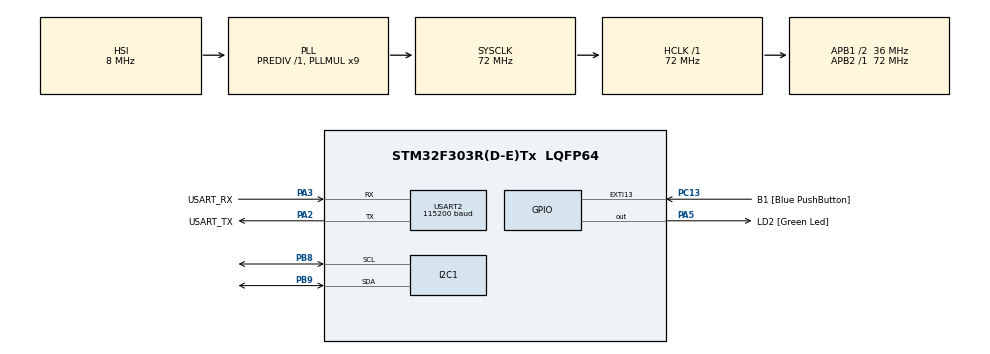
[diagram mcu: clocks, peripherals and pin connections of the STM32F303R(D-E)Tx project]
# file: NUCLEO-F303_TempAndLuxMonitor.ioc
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I2C1.Timing=0x00201D2B
Mcu.Family=STM32F3
Mcu.Name=STM32F303R(D-E)Tx
Mcu.Package=LQFP64
NVIC.PriorityGroup=NVIC_PRIORITYGROUP_0
PA13.GPIO_Label=TMS
PA13.Mode=Serial_Wire
PA13.Signal=SYS_JTMS-SWDIO
PA14.GPIO_Label=TCK
PA14.Mode=Serial_Wire
PA14.Signal=SYS_JTCK-SWCLK
PA2.GPIO_Label=USART_TX
PA2.GPIO_Mode=GPIO_MODE_AF_PP
PA2.GPIO_PuPd=GPIO_NOPULL
PA2.GPIO_Speed=GPIO_SPEED_FREQ_LOW
PA2.Mode=Asynchronous
PA2.Signal=USART2_TX
PA3.GPIO_Label=USART_RX
PA3.GPIO_Mode=GPIO_MODE_AF_PP
PA3.GPIO_PuPd=GPIO_NOPULL
PA3.GPIO_Speed=GPIO_SPEED_FREQ_LOW
PA3.Mode=Asynchronous
PA3.Signal=USART2_RX
PA5.GPIO_Label=LD2 [Green Led]
PA5.GPIO_Mode=GPIO_MODE_OUTPUT_PP
PA5.GPIO_PuPd=GPIO_NOPULL
PA5.GPIO_Speed=GPIO_SPEED_FREQ_LOW
PA5.Signal=GPIO_Output
PB3.GPIO_Label=SWO
PB3.Signal=SYS_JTDO-TRACESWO
PB8.Mode=I2C
PB8.Signal=I2C1_SCL
PB9.Mode=I2C
PB9.Signal=I2C1_SDA
PC13.GPIO_Label=B1 [Blue PushButton]
PC13.GPIO_ModeDefaultEXTI=GPIO_MODE_IT_FALLING
PC13.Signal=GPXTI13
PC14-OSC32_IN.Mode=LSE-External-Oscillator
PC14-OSC32_IN.Signal=RCC_OSC32_IN
PC15-OSC32_OUT.Mode=LSE-External-Oscillator
PC15-OSC32_OUT.Signal=RCC_OSC32_OUT
PF0-OSC_IN.Mode=HSE-External-Clock-Source
PF0-OSC_IN.Signal=RCC_OSC_IN
PF1-OSC_OUT.Signal=RCC_OSC_OUT
ProjectManager.HeapSize=0x200
ProjectManager.StackSize=0x400
ProjectManager.TargetToolchain=CMake
RCC.AHBFreq_Value=72000000
RCC.APB1CLKDivider=RCC_HCLK_DIV2
RCC.APB1Freq_Value=36000000
RCC.APB1TimFreq_Value=72000000
RCC.APB2Freq_Value=72000000
RCC.APB2TimFreq_Value=72000000
RCC.CortexFreq_Value=72000000
RCC.HCLKFreq_Value=72000000
RCC.HSE_VALUE=8000000
RCC.HSI_VALUE=8000000
RCC.PLLM=8
RCC.PLLMUL=RCC_PLL_MUL9
RCC.PLLN=336
RCC.PLLP=RCC_PLLP_DIV4
RCC.PLLQ=7
RCC.RCC_PLLsource_Clock_Source_FROM_HSE=RCC_HSE_PREDIV_DIV2
RCC.SYSCLKFreq_VALUE=72000000
RCC.SYSCLKSourceVirtual=RCC_SYSCLKSOURCE_PLLCLK
RCC.USBFreq_Value=72000000
USART2.BaudRate=115200
USART2.VirtualMode-Asynchronous=VM_ASYNC
board=NUCLEO-F303RE

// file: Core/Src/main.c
/* USER CODE BEGIN Header */
/**
  ******************************************************************************
  * @file           : main.c
  * @brief          : Main program body
  ******************************************************************************
  * @attention
  *
  * Copyright (c) 2026 STMicroelectronics.
  * All rights reserved.
  *
  * This software is licensed under terms that can be found in the LICENSE file
  * in the root directory of this software component.
  * If no LICENSE file comes with this software, it is provided AS-IS.
  *
  ******************************************************************************
  */
/* USER CODE END Header */
#include "main.h"
#include "stm32f3xx_hal.h"

/* USER CODE BEGIN Includes */
#include <TMP117.h>
#include <OPT3001.h>
#include <stdio.h>
#include <string.h>
/* USER CODE END Includes */

/* USER CODE BEGIN PTD */
TMP117_HandleTypeDef tmp117;
OPT3001_HandleTypeDef opt3001;
/* USER CODE END PTD */

I2C_HandleTypeDef hi2c1;

UART_HandleTypeDef huart2;

/* USER CODE BEGIN PV */

char msg[32];

// Variables for temperature sensor
double lowLimitTemp   = 50.0;
double highLimitTemp  = 100.0;
double temp           = 0.0;

// Variables for ambient light sensor
double lowLimit       = 100.0;
double highLimit      = 2000.0;
double lux            = 0.0;

// Variable to store the last recorded time
uint32_t previousTick = 0;
const uint32_t tickInterval = 2000;
/* USER CODE END PV */

void SystemClock_Config(void);
static void MX_GPIO_Init(void);
static void MX_USART2_UART_Init(void);
static void MX_I2C1_Init(void);

int main(void)
{

  /* MCU Configuration--------------------------------------------------------*/

  /* Reset of all peripherals, Initializes the Flash interface and the Systick. */
  HAL_Init();

  /* Configure the system clock */
  SystemClock_Config();

  /* Initialize all configured peripherals */
  MX_GPIO_Init();
  MX_USART2_UART_Init();
  MX_I2C1_Init();
  /* USER CODE BEGIN 2 */

  //Initilize sensors and configure default operatinf settings
  TMP117_Init(&tmp117, &hi2c1, TMP117_ADDRESS);
  OPT3001_Init(&opt3001, &hi2c1);

  TMP117_SetLowLimit_C(&tmp117, lowLimitTemp);
  TMP117_SetHighLimit_C(&tmp117, highLimitTemp);

  OPT3001_SetLowLimit(&opt3001, lowLimit);
  OPT3001_SetHighLimit(&opt3001, highLimit);

  /* USER CODE END 2 */

  /* Infinite loop */
  /* USER CODE BEGIN WHILE */
  while (1)
  {
    /**
     * Descomenta este bloque de código si quieres utilizar HAL_GetTick() en lugar de la
     * bandera isLuxDataReady.
     * Para utilizar este bloque comenta la línea 153 y las líneas 164-170
     */
    /*
    uint32_t currentTick =  HAL_GetTick(); // Get the current system time
    if (currentTick - previousTick >= tickInterval)
    {
      previousTick = currentTick; // Actualiza el tiempo anterior

      lux = OPT3001_GetLux(&opt3001);

      snprintf(msg, sizeof(msg), "Lux: %.2f\r\n", lux);
      HAL_UART_Transmit(&huart2, (uint8_t *)msg, strlen(msg), HAL_MAX_DELAY);
    }
    */

    _Bool isTempDataReady = TMP117_IsDataReady(&tmp117);
    _Bool isLuxDataReady = OPT3001_ConversionReadyFlag(&opt3001);

    if (isTempDataReady)
    {
      temp = TMP117_GetTemperature_C(&tmp117);

      snprintf(msg, sizeof(msg), "Temperature: %.2f %cC\r\n", temp, 0xB0);
      HAL_UART_Transmit(&huart2, (uint8_t *)msg, strlen(msg), HAL_MAX_DELAY);
    }

    if (isLuxDataReady)
    {
      lux = OPT3001_GetLux(&opt3001);

      snprintf(msg, sizeof(msg), "Lux: %.2f\r\n", lux);
      HAL_UART_Transmit(&huart2, (uint8_t *)msg, strlen(msg), HAL_MAX_DELAY);
    }

    /* USER CODE END WHILE */

  }
}

void SystemClock_Config(void)
{
  RCC_OscInitTypeDef RCC_OscInitStruct = {0};
  RCC_ClkInitTypeDef RCC_ClkInitStruct = {0};
  RCC_PeriphCLKInitTypeDef PeriphClkInit = {0};

  /** Initializes the RCC Oscillators according to the specified parameters
  * in the RCC_OscInitTypeDef structure.
  */
  RCC_OscInitStruct.OscillatorType = RCC_OSCILLATORTYPE_HSI;
  RCC_OscInitStruct.HSIState = RCC_HSI_ON;
  RCC_OscInitStruct.HSICalibrationValue = RCC_HSICALIBRATION_DEFAULT;
  RCC_OscInitStruct.PLL.PLLState = RCC_PLL_ON;
  RCC_OscInitStruct.PLL.PLLSource = RCC_PLLSOURCE_HSI;
  RCC_OscInitStruct.PLL.PLLMUL = RCC_PLL_MUL9;
  RCC_OscInitStruct.PLL.PREDIV = RCC_PREDIV_DIV1;
  if (HAL_RCC_OscConfig(&RCC_OscInitStruct) != HAL_OK)
  {
    Error_Handler();
  }

  /** Initializes the CPU, AHB and APB buses clocks
  */
  RCC_ClkInitStruct.ClockType = RCC_CLOCKTYPE_HCLK|RCC_CLOCKTYPE_SYSCLK
                              |RCC_CLOCKTYPE_PCLK1|RCC_CLOCKTYPE_PCLK2;
  RCC_ClkInitStruct.SYSCLKSource = RCC_SYSCLKSOURCE_PLLCLK;
  RCC_ClkInitStruct.AHBCLKDivider = RCC_SYSCLK_DIV1;
  RCC_ClkInitStruct.APB1CLKDivider = RCC_HCLK_DIV2;
  RCC_ClkInitStruct.APB2CLKDivider = RCC_HCLK_DIV1;

  if (HAL_RCC_ClockConfig(&RCC_ClkInitStruct, FLASH_LATENCY_2) != HAL_OK)
  {
    Error_Handler();
  }
  PeriphClkInit.PeriphClockSelection = RCC_PERIPHCLK_USART2|RCC_PERIPHCLK_I2C1;
  PeriphClkInit.Usart2ClockSelection = RCC_USART2CLKSOURCE_PCLK1;
  PeriphClkInit.I2c1ClockSelection = RCC_I2C1CLKSOURCE_HSI;
  if (HAL_RCCEx_PeriphCLKConfig(&PeriphClkInit) != HAL_OK)
  {
    Error_Handler();
  }
}

static void MX_I2C1_Init(void)
{

  hi2c1.Instance = I2C1;
  hi2c1.Init.Timing = 0x00201D2B;
  hi2c1.Init.OwnAddress1 = 0;
  hi2c1.Init.AddressingMode = I2C_ADDRESSINGMODE_7BIT;
  hi2c1.Init.DualAddressMode = I2C_DUALADDRESS_DISABLE;
  hi2c1.Init.OwnAddress2 = 0;
  hi2c1.Init.OwnAddress2Masks = I2C_OA2_NOMASK;
  hi2c1.Init.GeneralCallMode = I2C_GENERALCALL_DISABLE;
  hi2c1.Init.NoStretchMode = I2C_NOSTRETCH_DISABLE;
  if (HAL_I2C_Init(&hi2c1) != HAL_OK)
  {
    Error_Handler();
  }

  /** Configure Analogue filter
  */
  if (HAL_I2CEx_ConfigAnalogFilter(&hi2c1, I2C_ANALOGFILTER_ENABLE) != HAL_OK)
  {
    Error_Handler();
  }

  /** Configure Digital filter
  */
  if (HAL_I2CEx_ConfigDigitalFilter(&hi2c1, 0) != HAL_OK)
  {
    Error_Handler();
  }

}

static void MX_USART2_UART_Init(void)
{

  huart2.Instance = USART2;
  huart2.Init.BaudRate = 115200;
  huart2.Init.WordLength = UART_WORDLENGTH_8B;
  huart2.Init.StopBits = UART_STOPBITS_1;
  huart2.Init.Parity = UART_PARITY_NONE;
  huart2.Init.Mode = UART_MODE_TX_RX;
  huart2.Init.HwFlowCtl = UART_HWCONTROL_NONE;
  huart2.Init.OverSampling = UART_OVERSAMPLING_16;
  huart2.Init.OneBitSampling = UART_ONE_BIT_SAMPLE_DISABLE;
  huart2.AdvancedInit.AdvFeatureInit = UART_ADVFEATURE_NO_INIT;
  if (HAL_UART_Init(&huart2) != HAL_OK)
  {
    Error_Handler();
  }

}

static void MX_GPIO_Init(void)
{
  GPIO_InitTypeDef GPIO_InitStruct = {0};

  /* GPIO Ports Clock Enable */
  __HAL_RCC_GPIOC_CLK_ENABLE();
  __HAL_RCC_GPIOF_CLK_ENABLE();
  __HAL_RCC_GPIOA_CLK_ENABLE();
  __HAL_RCC_GPIOB_CLK_ENABLE();

  /*Configure GPIO pin Output Level */
  HAL_GPIO_WritePin(LD2_GPIO_Port, LD2_Pin, GPIO_PIN_RESET);

  /*Configure GPIO pin : B1_Pin */
  GPIO_InitStruct.Pin = B1_Pin;
  GPIO_InitStruct.Mode = GPIO_MODE_IT_FALLING;
  GPIO_InitStruct.Pull = GPIO_NOPULL;
  HAL_GPIO_Init(B1_GPIO_Port, &GPIO_InitStruct);

  /*Configure GPIO pin : LD2_Pin */
  GPIO_InitStruct.Pin = LD2_Pin;
  GPIO_InitStruct.Mode = GPIO_MODE_OUTPUT_PP;
  GPIO_InitStruct.Pull = GPIO_NOPULL;
  GPIO_InitStruct.Speed = GPIO_SPEED_FREQ_LOW;
  HAL_GPIO_Init(LD2_GPIO_Port, &GPIO_InitStruct);

}

void Error_Handler(void)
{
  __disable_irq();
  while (1)
  {
  }
}
